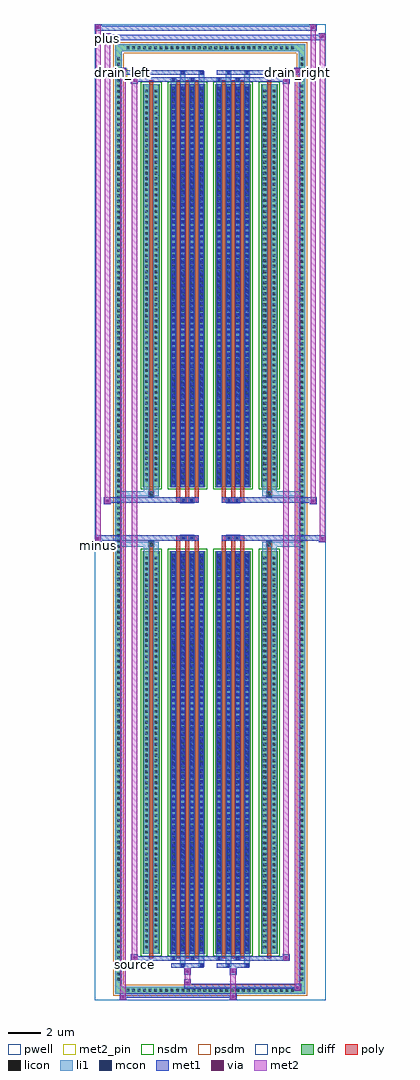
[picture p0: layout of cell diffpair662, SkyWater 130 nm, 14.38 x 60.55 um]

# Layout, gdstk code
import gdstk
lib = gdstk.Library(unit=1e-6, precision=5e-09)
def R(c, l, rs):  # rectangles x0, y0, x1, y1
    for r in rs: c.add(gdstk.rectangle(r[:2], r[2:], *l))
def A(c, l, x, y, w, h, nx, ny, dx, dy):  # array of equal rectangles
    R(c, l, [(x+i*dx, y+j*dy, x+i*dx+w, y+j*dy+h) for i in range(nx) for j in range(ny)])
def P(c, l, *ps):  # polygons
    for p in ps: c.add(gdstk.Polygon(p, *l))
pwell = (64, 44)
diff = (65, 20)
poly = (66, 20)
licon = (66, 44)
li1 = (67, 20)
mcon = (67, 44)
met1 = (68, 20)
via = (68, 44)
met2_pin = (69, 16)
met2 = (69, 20)
nsdm = (93, 44)
psdm = (94, 20)
npc = (95, 20)

diffpair662 = lib.new_cell('diffpair662')
R(diffpair662, pwell, [(-7.17,-29.84,7.17,30.71), (-4.49,-28.03,-0.01,-0.805), (0.01,-28.03,4.49,-0.805), (-4.49,0.805,-0.01,28.03), (0.01,0.805,4.49,28.03)])
A(diffpair662, diff, -5.305, -29.44, 0.41, 0.41, 31, 2, 0.34, 58.47)
A(diffpair662, diff, -5.9, -28.765, 0.41, 0.41, 1, 169, 0, 0.34)
A(diffpair662, diff, 5.49, -28.765, 0.41, 0.41, 1, 169, 0, 0.34)
R(diffpair662, diff, [(-5.305,-29.44,5.305,-29.03), (-5.9,-28.765,-5.49,28.765), (5.49,-28.765,5.9,28.765), (-4.18,-26.985,-3.15,-1.985), (-2.51,-26.985,-0.32,-1.985), (0.32,-26.985,2.51,-1.985), (3.15,-26.985,4.18,-1.985), (-4.18,1.985,-3.15,26.985), (-2.51,1.985,-0.32,26.985), (0.32,1.985,2.51,26.985), (3.15,1.985,4.18,26.985), (-5.305,29.03,5.305,29.44)])
P(diffpair662, diff, [(5.9,29.44),(-5.9,29.44),(-5.9,-29.03),(-5.49,-29.03),(-5.49,29.03),(5.49,29.03),(5.49,-29.03),(-5.49,-29.03),(-5.9,-29.03),(-5.9,-29.44),(5.9,-29.44)])
A(diffpair662, poly, -2.12, -27.235, 0.25, 25.5, 3, 2, 0.58, 28.97)
A(diffpair662, poly, 0.71, -27.235, 0.25, 25.5, 3, 2, 0.58, 28.97)
A(diffpair662, poly, -2.12, -1.735, 0.25, 0.4, 3, 2, 0.58, 3.07)
A(diffpair662, poly, 0.71, -1.735, 0.25, 0.4, 3, 2, 0.58, 3.07)
R(diffpair662, poly, [(-3.79,-27.235,-3.54,-1.735), (3.54,-27.235,3.79,-1.735), (-3.83,-1.735,-3.5,-1.405), (-3.83,-1.735,-3.5,-1.405), (3.5,-1.735,3.83,-1.405), (3.5,-1.735,3.83,-1.405), (-2.12,-1.335,-0.71,-1.005), (-1.83,-1.335,-1.5,-1.005), (-1.33,-1.335,-1,-1.005), (0.71,-1.335,2.12,-1.005), (1,-1.335,1.33,-1.005), (1.5,-1.335,1.83,-1.005), (-2.12,1.005,-0.71,1.335), (-1.83,1.005,-1.5,1.335), (-1.33,1.005,-1,1.335), (0.71,1.005,2.12,1.335), (1,1.005,1.33,1.335), (1.5,1.005,1.83,1.335), (-3.83,1.405,-3.5,1.735), (-3.83,1.405,-3.5,1.735), (3.5,1.405,3.83,1.735), (3.5,1.405,3.83,1.735), (-3.79,1.735,-3.54,27.235), (3.54,1.735,3.79,27.235)])
A(diffpair662, licon, -5.185, -29.32, 0.17, 0.17, 31, 2, 0.34, 58.47)
A(diffpair662, licon, -5.78, -28.645, 0.17, 0.17, 1, 169, 0, 0.34)
A(diffpair662, licon, 5.61, -28.645, 0.17, 0.17, 1, 169, 0, 0.34)
A(diffpair662, licon, -4.04, -26.64, 0.17, 0.17, 1, 72, 0, 0.34)
A(diffpair662, licon, -3.46, -26.64, 0.17, 0.17, 1, 72, 0, 0.34)
A(diffpair662, licon, -2.37, -26.64, 0.17, 0.17, 4, 72, 0.58, 0.34)
A(diffpair662, licon, 0.46, -26.64, 0.17, 0.17, 4, 72, 0.58, 0.34)
A(diffpair662, licon, 3.29, -26.64, 0.17, 0.17, 1, 72, 0, 0.34)
A(diffpair662, licon, 3.87, -26.64, 0.17, 0.17, 1, 72, 0, 0.34)
A(diffpair662, licon, -4.04, 2.33, 0.17, 0.17, 1, 72, 0, 0.34)
A(diffpair662, licon, -3.46, 2.33, 0.17, 0.17, 1, 72, 0, 0.34)
A(diffpair662, licon, -2.37, 2.33, 0.17, 0.17, 4, 72, 0.58, 0.34)
A(diffpair662, licon, 0.46, 2.33, 0.17, 0.17, 4, 72, 0.58, 0.34)
A(diffpair662, licon, 3.29, 2.33, 0.17, 0.17, 1, 72, 0, 0.34)
A(diffpair662, licon, 3.87, 2.33, 0.17, 0.17, 1, 72, 0, 0.34)
R(diffpair662, licon, [(-3.75,-1.655,-3.58,-1.485), (3.58,-1.655,3.75,-1.485), (-1.75,-1.255,-1.58,-1.085), (-1.25,-1.255,-1.08,-1.085), (1.08,-1.255,1.25,-1.085), (1.58,-1.255,1.75,-1.085), (-1.75,1.085,-1.58,1.255), (-1.25,1.085,-1.08,1.255), (1.08,1.085,1.25,1.255), (1.58,1.085,1.75,1.255), (-3.75,1.485,-3.58,1.655), (3.58,1.485,3.75,1.655)])
A(diffpair662, li1, -5.265, -29.4, 0.33, 0.33, 31, 2, 0.34, 58.47)
A(diffpair662, li1, -5.86, -28.725, 0.33, 0.33, 1, 169, 0, 0.34)
A(diffpair662, li1, 5.53, -28.725, 0.33, 0.33, 1, 169, 0, 0.34)
A(diffpair662, li1, -2.45, -26.985, 0.33, 25, 4, 2, 0.58, 28.97)
A(diffpair662, li1, 0.38, -26.985, 0.33, 25, 4, 2, 0.58, 28.97)
A(diffpair662, li1, -2.37, -26.81, 0.17, 0.17, 4, 69, 0.58, 0.36)
A(diffpair662, li1, -2.37, -26.81, 0.17, 24.65, 4, 2, 0.58, 28.97)
A(diffpair662, li1, 0.46, -26.81, 0.17, 0.17, 4, 69, 0.58, 0.36)
A(diffpair662, li1, 0.46, -26.81, 0.17, 24.65, 4, 2, 0.58, 28.97)
A(diffpair662, li1, -4.12, -26.72, 0.33, 0.33, 1, 72, 0, 0.34)
A(diffpair662, li1, -3.54, -26.72, 0.33, 0.33, 1, 72, 0, 0.34)
A(diffpair662, li1, -2.45, -26.72, 0.33, 0.33, 4, 72, 0.58, 0.34)
A(diffpair662, li1, 0.38, -26.72, 0.33, 0.33, 4, 72, 0.58, 0.34)
A(diffpair662, li1, 3.21, -26.72, 0.33, 0.33, 1, 72, 0, 0.34)
A(diffpair662, li1, 3.79, -26.72, 0.33, 0.33, 1, 72, 0, 0.34)
A(diffpair662, li1, -2.37, 2.16, 0.17, 0.17, 4, 69, 0.58, 0.36)
A(diffpair662, li1, 0.46, 2.16, 0.17, 0.17, 4, 69, 0.58, 0.36)
A(diffpair662, li1, -4.12, 2.25, 0.33, 0.33, 1, 72, 0, 0.34)
A(diffpair662, li1, -3.54, 2.25, 0.33, 0.33, 1, 72, 0, 0.34)
A(diffpair662, li1, -2.45, 2.25, 0.33, 0.33, 4, 72, 0.58, 0.34)
A(diffpair662, li1, 0.38, 2.25, 0.33, 0.33, 4, 72, 0.58, 0.34)
A(diffpair662, li1, 3.21, 2.25, 0.33, 0.33, 1, 72, 0, 0.34)
A(diffpair662, li1, 3.79, 2.25, 0.33, 0.33, 1, 72, 0, 0.34)
R(diffpair662, li1, [(-5.9,-29.44,-5.49,-29.03), (-5.9,-29.44,-5.49,-29.03), (-5.49,-29.44,5.49,-29.03), (5.49,-29.44,5.9,-29.03), (5.49,-29.44,5.9,-29.03), (-5.9,-29.03,-5.49,29.03), (5.49,-29.03,5.9,29.03), (-1.87,-27.79,-1.54,-26.985), (-1.79,-27.79,-1.62,-27.62), (-0.71,-27.79,-0.38,-26.985), (-0.63,-27.79,-0.46,-27.62), (0.96,-27.79,1.29,-26.985), (1.04,-27.79,1.21,-27.62), (2.12,-27.79,2.45,-26.985), (2.2,-27.79,2.37,-27.62), (-2.45,-27.36,-2.12,-26.985), (-2.37,-27.36,-2.2,-27.19), (-1.29,-27.36,-0.96,-26.985), (-1.21,-27.36,-1.04,-27.19), (0.38,-27.36,0.71,-26.985), (0.46,-27.36,0.63,-27.19), (1.54,-27.36,1.87,-26.985), (1.62,-27.36,1.79,-27.19), (-4.12,-26.985,-3.79,-1.985), (-3.54,-26.985,-3.21,-1.985), (3.21,-26.985,3.54,-1.985), (3.79,-26.985,4.12,-1.985), (-4.12,-1.985,-3.79,-1.405), (-3.54,-1.985,-3.21,-1.405), (3.21,-1.985,3.54,-1.405), (3.79,-1.985,4.12,-1.405), (-5.9,-1.735,-3.83,-1.405), (-4.12,-1.735,-3.83,-1.405), (-3.83,-1.735,-3.5,-1.405), (-3.5,-1.735,-3.21,-1.405), (3.21,-1.735,3.5,-1.405), (3.5,-1.735,3.83,-1.405), (3.5,-1.735,5.9,-1.405), (3.83,-1.735,4.12,-1.405), (-1.83,-1.335,-1.5,-1.005), (-1.33,-1.335,-1,-1.005), (1,-1.335,1.33,-1.005), (1.5,-1.335,1.83,-1.005), (-1.83,1.005,-1.5,1.335), (-1.33,1.005,-1,1.335), (1,1.005,1.33,1.335), (1.5,1.005,1.83,1.335), (-5.9,1.405,-3.83,1.735), (-4.12,1.405,-3.83,1.735), (-4.12,1.405,-3.79,1.985), (-3.83,1.405,-3.5,1.735), (-3.54,1.405,-3.21,1.985), (-3.5,1.405,-3.21,1.735), (3.21,1.405,3.5,1.735), (3.21,1.405,3.54,1.985), (3.5,1.405,3.83,1.735), (3.5,1.405,5.9,1.735), (3.79,1.405,4.12,1.985), (3.83,1.405,4.12,1.735), (-4.12,1.985,-3.79,26.985), (-3.54,1.985,-3.21,26.985), (3.21,1.985,3.54,26.985), (3.79,1.985,4.12,26.985), (-2.45,26.985,-2.12,27.36), (-1.87,26.985,-1.54,27.79), (-1.29,26.985,-0.96,27.36), (-0.71,26.985,-0.38,27.79), (0.38,26.985,0.71,27.36), (0.96,26.985,1.29,27.79), (1.54,26.985,1.87,27.36), (2.12,26.985,2.45,27.79), (-2.37,27.19,-2.2,27.36), (-1.21,27.19,-1.04,27.36), (0.46,27.19,0.63,27.36), (1.62,27.19,1.79,27.36), (-1.79,27.62,-1.62,27.79), (-0.63,27.62,-0.46,27.79), (1.04,27.62,1.21,27.79), (2.2,27.62,2.37,27.79), (-5.9,29.03,-5.49,29.44), (-5.9,29.03,-5.49,29.44), (-5.49,29.03,5.49,29.44), (5.49,29.03,5.9,29.44), (5.49,29.03,5.9,29.44)])
A(diffpair662, mcon, -2.37, -26.81, 0.17, 0.17, 4, 69, 0.58, 0.36)
A(diffpair662, mcon, 0.46, -26.81, 0.17, 0.17, 4, 69, 0.58, 0.36)
A(diffpair662, mcon, -2.37, 2.16, 0.17, 0.17, 4, 69, 0.58, 0.36)
A(diffpair662, mcon, 0.46, 2.16, 0.17, 0.17, 4, 69, 0.58, 0.36)
R(diffpair662, mcon, [(-1.79,-27.79,-1.62,-27.62), (-0.63,-27.79,-0.46,-27.62), (1.04,-27.79,1.21,-27.62), (2.2,-27.79,2.37,-27.62), (-2.37,-27.36,-2.2,-27.19), (-1.21,-27.36,-1.04,-27.19), (0.46,-27.36,0.63,-27.19), (1.62,-27.36,1.79,-27.19), (-1.75,-1.255,-1.58,-1.085), (-1.25,-1.255,-1.08,-1.085), (1.08,-1.255,1.25,-1.085), (1.58,-1.255,1.75,-1.085), (-1.75,1.085,-1.58,1.255), (-1.25,1.085,-1.08,1.255), (1.08,1.085,1.25,1.255), (1.58,1.085,1.75,1.255), (-2.37,27.19,-2.2,27.36), (-1.21,27.19,-1.04,27.36), (0.46,27.19,0.63,27.36), (1.62,27.19,1.79,27.36), (-1.79,27.62,-1.62,27.79), (-0.63,27.62,-0.46,27.79), (1.04,27.62,1.21,27.79), (2.2,27.62,2.37,27.79)])
A(diffpair662, met1, -2.43, -26.985, 0.29, 25, 4, 2, 0.58, 28.97)
A(diffpair662, met1, 0.4, -26.985, 0.29, 25, 4, 2, 0.58, 28.97)
A(diffpair662, met1, -2.43, -26.87, 0.29, 0.29, 4, 69, 0.58, 0.36)
A(diffpair662, met1, 0.4, -26.87, 0.29, 0.29, 4, 69, 0.58, 0.36)
A(diffpair662, met1, -2.43, 2.1, 0.29, 0.29, 4, 69, 0.58, 0.36)
A(diffpair662, met1, 0.4, 2.1, 0.29, 0.29, 4, 69, 0.58, 0.36)
R(diffpair662, met1, [(-5.63,-29.84,-5.2,-29.41), (1.2,-29.84,1.63,-29.41), (-5.63,-29.7,1.63,-29.41), (5.2,-29.27,5.63,-28.84), (-1.63,-29.13,5.63,-28.84), (-1.63,-28.99,-1.2,-28.56), (-1.63,-28.28,-1.2,-27.85), (1.2,-28.28,1.63,-27.85), (-2.43,-27.85,-0.4,-27.56), (-1.85,-27.85,-1.56,-27.56), (-0.69,-27.85,-0.4,-27.56), (0.4,-27.85,2.43,-27.56), (0.98,-27.85,1.27,-27.56), (2.14,-27.85,2.43,-27.56), (-4.92,-27.42,-4.49,-26.99), (-4.92,-27.42,-2.43,-27.13), (-2.43,-27.42,-2.14,-27.13), (-2.43,-27.42,-0.4,-27.13), (-1.27,-27.42,-0.98,-27.13), (-0.4,-27.42,0.4,-27.13), (0.4,-27.42,0.69,-27.13), (0.4,-27.42,2.43,-27.13), (1.56,-27.42,1.85,-27.13), (2.43,-27.42,4.92,-27.13), (4.49,-27.42,4.92,-26.99), (-7.17,-1.435,-6.74,-1.005), (6.74,-1.435,7.17,-1.005), (-7.17,-1.335,-0.71,-1.005), (-2.12,-1.335,-0.71,-1.005), (0.71,-1.335,2.12,-1.005), (0.71,-1.335,7.17,-1.005), (-1.81,-1.315,-1.52,-1.025), (-1.31,-1.315,-1.02,-1.025), (1.02,-1.315,1.31,-1.025), (1.52,-1.315,1.81,-1.025), (-6.6,0.905,-6.17,1.335), (6.17,0.905,6.6,1.335), (-6.6,1.005,-2.12,1.335), (-2.12,1.005,-0.71,1.335), (0.71,1.005,2.12,1.335), (2.12,1.005,6.6,1.335), (-1.81,1.025,-1.52,1.315), (-1.31,1.025,-1.02,1.315), (1.02,1.025,1.31,1.315), (1.52,1.025,1.81,1.315), (-4.92,26.99,-4.49,27.42), (4.49,26.99,4.92,27.42), (-4.92,27.13,-2.43,27.42), (-2.43,27.13,-2.14,27.42), (-2.43,27.13,-0.4,27.42), (-1.27,27.13,-0.98,27.42), (-0.4,27.13,0.4,27.42), (0.4,27.13,0.69,27.42), (0.4,27.13,2.43,27.42), (1.56,27.13,1.85,27.42), (2.43,27.13,4.92,27.42), (-5.63,27.56,-5.2,27.99), (-5.63,27.56,-2.43,27.85), (-2.43,27.56,-0.4,27.85), (-1.85,27.56,-1.56,27.85), (-0.69,27.56,-0.4,27.85), (0.4,27.56,2.43,27.85), (0.98,27.56,1.27,27.85), (2.14,27.56,2.43,27.85), (2.43,27.56,5.63,27.85), (5.2,27.56,5.63,27.99), (-6.6,29.71,-6.17,30.14), (-6.6,29.71,-4.49,30.04), (-4.49,29.71,4.49,30.04), (4.49,29.71,7.17,30.04), (6.74,29.71,7.17,30.14), (-7.17,30.28,-6.74,30.71), (-7.17,30.28,-4.49,30.61), (-4.49,30.28,4.49,30.61), (4.49,30.28,6.6,30.61), (6.17,30.28,6.6,30.71)])
R(diffpair662, via, [(-5.49,-29.7,-5.34,-29.55), (1.34,-29.7,1.49,-29.55), (5.34,-29.13,5.49,-28.98), (-1.49,-28.85,-1.34,-28.7), (-1.49,-28.14,-1.34,-27.99), (1.34,-28.14,1.49,-27.99), (-4.78,-27.28,-4.63,-27.13), (4.63,-27.28,4.78,-27.13), (-7.03,-1.295,-6.88,-1.145), (6.88,-1.295,7.03,-1.145), (-6.46,1.045,-6.31,1.195), (6.31,1.045,6.46,1.195), (-4.78,27.13,-4.63,27.28), (4.63,27.13,4.78,27.28), (-5.49,27.7,-5.34,27.85), (5.34,27.7,5.49,27.85), (-6.46,29.85,-6.31,30), (6.88,29.85,7.03,30), (-7.03,30.42,-6.88,30.57), (6.31,30.42,6.46,30.57)])
R(diffpair662, met2_pin, [(-4.955,-27.87,-4.455,-27.37), (-7.205,-1.885,-6.705,-1.385), (-5.665,27.44,-5.165,27.94), (5.165,27.44,5.665,27.94), (-6.635,29.59,-6.135,30.09)])
R(diffpair662, met2, [(-5.58,-29.79,-5.25,-29.46), (-5.58,-29.79,-5.25,27.94), (1.25,-29.79,1.58,-29.46), (1.25,-29.46,1.58,-28.23), (5.25,-29.22,5.58,-28.89), (5.25,-29.22,5.58,27.94), (-1.58,-28.94,-1.25,-28.61), (-1.58,-28.61,-1.25,-28.23), (-1.58,-28.23,-1.25,-27.9), (1.25,-28.23,1.58,-27.9), (-4.87,-27.37,-4.54,-27.04), (-4.87,-27.37,-4.54,27.37), (4.54,-27.37,4.87,-27.04), (4.54,-27.37,4.87,27.37), (-7.12,-1.385,-6.79,-1.055), (-7.12,-1.385,-6.79,30.66), (6.79,-1.385,7.12,-1.055), (6.79,-1.385,7.12,30.09), (-6.55,0.955,-6.22,1.285), (-6.55,0.955,-6.22,30.09), (6.22,0.955,6.55,1.285), (6.22,0.955,6.55,30.66), (-4.87,27.04,-4.54,27.37), (4.54,27.04,4.87,27.37), (-5.58,27.61,-5.25,27.94), (5.25,27.61,5.58,27.94), (-6.55,29.76,-6.22,30.09), (6.79,29.76,7.12,30.09), (-7.12,30.33,-6.79,30.66), (6.22,30.33,6.55,30.66)])
P(diffpair662, met2, [(7.12,-1.385),(7.12,-1.385),(7.12,-1.055),(7.12,-1.055)],
  [(7.12,29.76),(7.12,29.76),(7.12,30.09),(7.12,30.09)],
  [(-6.79,-1.385),(-6.79,-1.385),(-6.79,-1.055),(-6.79,-1.055)],
  [(-6.79,30.33),(-6.79,30.33),(-6.79,30.66),(-6.79,30.66)],
  [(6.55,0.955),(6.55,0.955),(6.55,1.285),(6.55,1.285)],
  [(6.55,30.33),(6.55,30.33),(6.55,30.66),(6.55,30.66)],
  [(-6.22,0.955),(-6.22,0.955),(-6.22,1.285),(-6.22,1.285)],
  [(-6.22,29.76),(-6.22,29.76),(-6.22,30.09),(-6.22,30.09)],
  [(-5.25,-29.79),(-5.25,-29.79),(-5.25,-29.46),(-5.25,-29.46)],
  [(-5.25,27.61),(-5.25,27.61),(-5.25,27.94),(-5.25,27.94)],
  [(5.58,-29.22),(5.58,-29.22),(5.58,-28.89),(5.58,-28.89)],
  [(5.58,27.61),(5.58,27.61),(5.58,27.94),(5.58,27.94)],
  [(-4.54,-27.37),(-4.54,-27.37),(-4.54,-27.04),(-4.54,-27.04)],
  [(-4.54,27.04),(-4.54,27.04),(-4.54,27.37),(-4.54,27.37)],
  [(4.87,-27.37),(4.87,-27.37),(4.87,-27.04),(4.87,-27.04)],
  [(4.87,27.04),(4.87,27.04),(4.87,27.37),(4.87,27.37)])
R(diffpair662, nsdm, [(-4.31,-27.115,-3.02,-1.855), (-2.64,-27.115,-0.19,-1.855), (0.19,-27.115,2.64,-1.855), (3.02,-27.115,4.31,-1.855), (-4.31,1.855,-3.02,27.115), (-2.64,1.855,-0.19,27.115), (0.19,1.855,2.64,27.115), (3.02,1.855,4.31,27.115)])
P(diffpair662, psdm, [(6.03,29.57),(-6.03,29.57),(-6.03,-28.9),(-5.36,-28.9),(-5.36,28.9),(5.36,28.9),(5.36,-28.9),(-5.36,-28.9),(-6.03,-28.9),(-6.03,-29.57),(6.03,-29.57)])
R(diffpair662, npc, [(-3.85,-1.755,-3.48,-1.385), (3.48,-1.755,3.85,-1.385), (-1.85,-1.355,-1.48,-0.985), (-1.85,-1.355,-0.98,-0.985), (-1.85,-1.355,-0.98,-0.985), (-1.35,-1.355,-0.98,-0.985), (0.98,-1.355,1.35,-0.985), (0.98,-1.355,1.85,-0.985), (0.98,-1.355,1.85,-0.985), (1.48,-1.355,1.85,-0.985), (-1.85,0.985,-1.48,1.355), (-1.85,0.985,-0.98,1.355), (-1.85,0.985,-0.98,1.355), (-1.35,0.985,-0.98,1.355), (0.98,0.985,1.35,1.355), (0.98,0.985,1.85,1.355), (0.98,0.985,1.85,1.355), (1.48,0.985,1.85,1.355), (-3.85,1.385,-3.48,1.755), (3.48,1.385,3.85,1.755)])
diffpair662.add(gdstk.Label('minus', (-6.955,-1.635), layer=69, texttype=5))
diffpair662.add(gdstk.Label('drain_right', (5.415,27.69), layer=69, texttype=5))
diffpair662.add(gdstk.Label('drain_left', (-5.415,27.69), layer=69, texttype=5))
diffpair662.add(gdstk.Label('source', (-4.705,-27.62), layer=69, texttype=5))
diffpair662.add(gdstk.Label('plus', (-6.385,29.84), layer=69, texttype=5))

lib.write_gds('diffpair662.gds')
